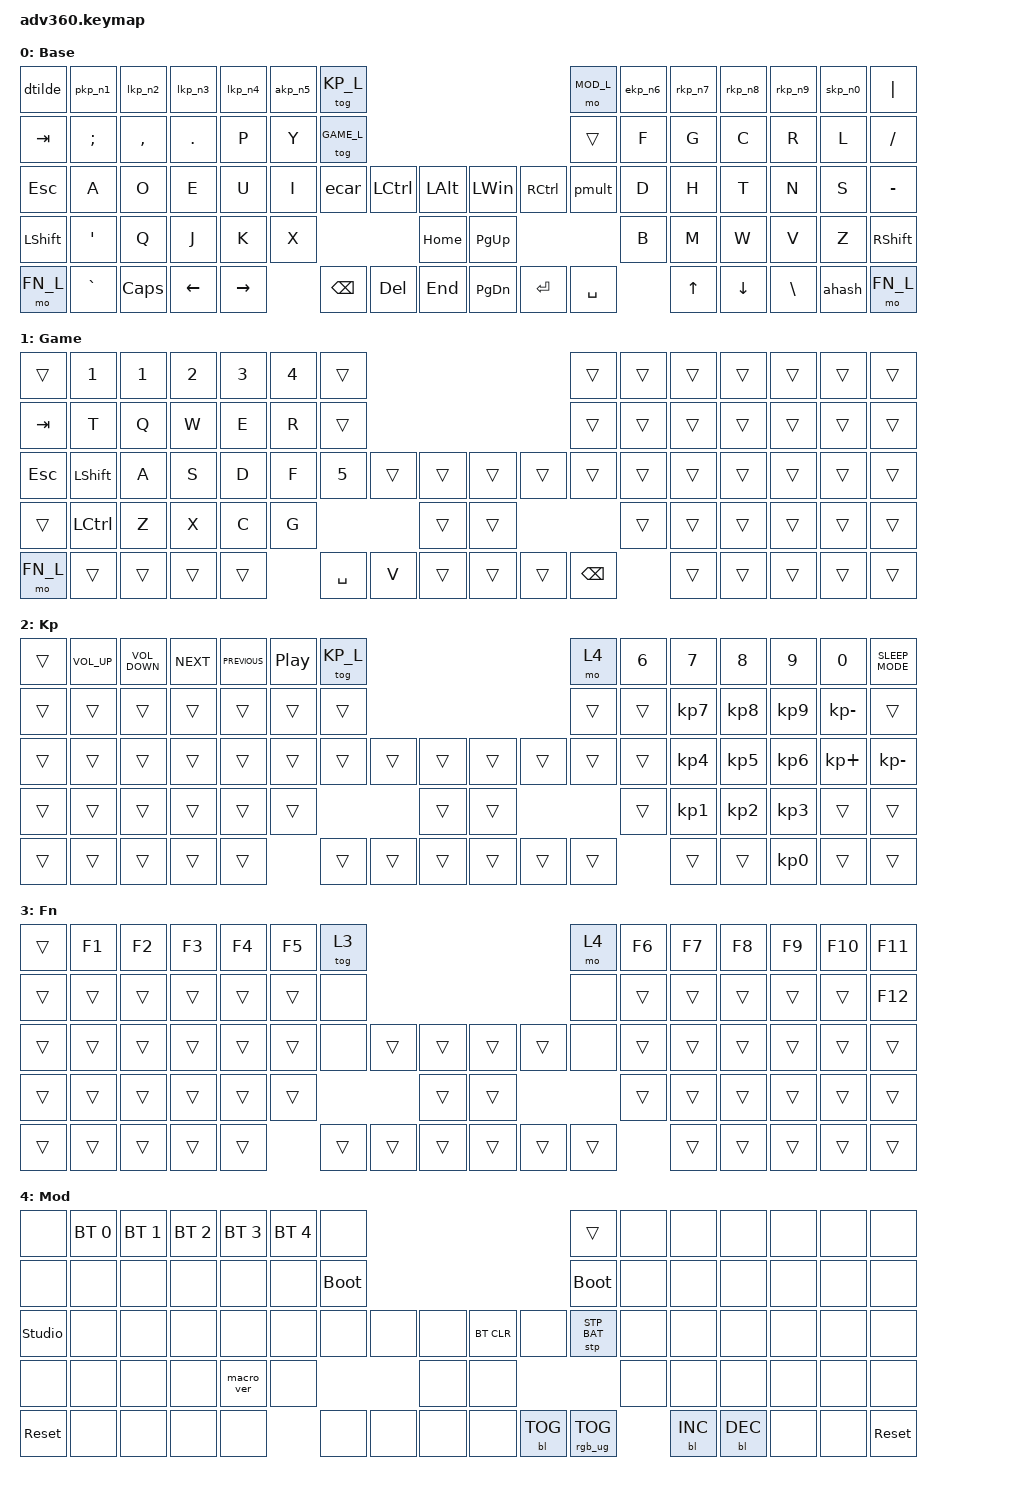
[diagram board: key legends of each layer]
#include <behaviors.dtsi>
#include <dt-bindings/zmk/keys.h>
#include <dt-bindings/zmk/stp.h>
#include <dt-bindings/zmk/backlight.h>
#include <dt-bindings/zmk/bt.h>
#include <dt-bindings/zmk/rgb.h>

// Layers 

#define DVORAK_L 0
#define GAME_L 1
#define KP_L 2
#define FN_L 3
#define MOD_L 4

/ {
    behaviors {
        #include "macros.dtsi"
      #include "version.dtsi"

        /* hm: homerow_mods { */
        /*     compatible = "zmk,behavior-hold-tap"; */
        /*     #binding-cells = <2>; */
        /*     tapping-term-ms = <200>; */
        /*     flavor = "tap-preferred"; */
        /*     bindings = <&kp>, <&kp>; */
        /* }; */
        pkp_n1: plus_kp_n1 {
            compatible = "zmk,behavior-mod-morph";
            #binding-cells = <0>;
            bindings = <&kp PLUS>, <&kp N1>;
            mods = <(MOD_LSFT|MOD_RSFT)>;
        };

        lkp_n2: left_bracket_kp_n2 {
            compatible = "zmk,behavior-mod-morph";
            #binding-cells = <0>;
            bindings = <&kp LEFT_BRACKET>, <&kp N2>;
            mods = <(MOD_LSFT|MOD_RSFT)>;
        };

        lkp_n3: left_brace_kp_n3 {
            compatible = "zmk,behavior-mod-morph";
            #binding-cells = <0>;
            bindings = <&kp LEFT_BRACE>, <&kp N3>;
            mods = <(MOD_LSFT|MOD_RSFT)>;
        };

        lkp_n4: left_parenthesis_kp_n4 {
            compatible = "zmk,behavior-mod-morph";
            #binding-cells = <0>;
            bindings = <&kp LEFT_PARENTHESIS>, <&kp N4>;
            mods = <(MOD_LSFT|MOD_RSFT)>;
        };

        akp_n5: amps_kp_n5 {
            compatible = "zmk,behavior-mod-morph";
            #binding-cells = <0>;
            bindings = <&kp AMPS>, <&kp N5>;
            mods = <(MOD_LSFT|MOD_RSFT)>;
        };

        ekp_n6: equal_kp_n6 {
            compatible = "zmk,behavior-mod-morph";
            #binding-cells = <0>;
            bindings = <&kp EQUAL>, <&kp N6>;
            mods = <(MOD_LSFT|MOD_RSFT)>;
        };

        rkp_n7: right_parenthesis_kp_n7 {
            compatible = "zmk,behavior-mod-morph";
            #binding-cells = <0>;
            bindings = <&kp RIGHT_PARENTHESIS>, <&kp N7>;
            mods = <(MOD_LSFT|MOD_RSFT)>;
        };

        rkp_n8: right_brace_kp_n8 {
            compatible = "zmk,behavior-mod-morph";
            #binding-cells = <0>;
            bindings = <&kp RIGHT_BRACE>, <&kp N8>;
            mods = <(MOD_LSFT|MOD_RSFT)>;
        };

        rkp_n9: right_bracket_kp_n9 {
            compatible = "zmk,behavior-mod-morph";
            #binding-cells = <0>;
            bindings = <&kp RIGHT_BRACKET>, <&kp N9>;
            mods = <(MOD_LSFT|MOD_RSFT)>;
        };

        skp_n0: star_kp_n0 {
            compatible = "zmk,behavior-mod-morph";
            #binding-cells = <0>;
            bindings = <&kp STAR>, <&kp N0>;
            mods = <(MOD_LSFT|MOD_RSFT)>;
        };

        // Symbols

        dtilde: dllr_tilde {
            compatible = "zmk,behavior-mod-morph";
            #binding-cells = <0>;
            bindings = <&kp DLLR>, <&kp TILDE>;
            mods = <(MOD_LSFT|MOD_RSFT)>;
        };

        ahash: at_hash {
            compatible = "zmk,behavior-mod-morph";
            #binding-cells = <0>;
            bindings = <&kp AT>, <&kp HASH>;
            mods = <(MOD_LSFT|MOD_RSFT)>;
        };

        pmult: percent_multiply {
            compatible = "zmk,behavior-mod-morph";
            #binding-cells = <0>;
            bindings = <&kp PERCENT>, <&kp STAR>;
            mods = <(MOD_LSFT|MOD_RSFT)>;
        };
            
            

        ecar: excl_caret {
            compatible = "zmk,behavior-mod-morph";
            #binding-cells = <0>;
            bindings = <&kp EXCL>, <&kp CARET>;
            mods = <(MOD_LSFT|MOD_RSFT)>;
        };

    };

    keymap {
        compatible = "zmk,keymap";

        dvorak {
            display-name = "Base";
            bindings = <
//    ┌─────────┬─────────┬─────────┬─────────┬─────────┬─────────┬────────────┐                           ┌──────────┬─────────┬─────────┬─────────┬─────────┬─────────┬─────────┐
//    │ &dtilde │ &pkp_n1 │ &lkp_n2 │ &lkp_n3 │ &lkp_n4 │ &akp_n5 │  tog KP_L  │                           │ mo MOD_L │ &ekp_n6 │ &rkp_n7 │ &rkp_n8 │ &rkp_n9 │ &skp_n0 │    |    │
//    ├─────────┼─────────┼─────────┼─────────┼─────────┼─────────┼────────────┤                           ├──────────┼─────────┼─────────┼─────────┼─────────┼─────────┼─────────┤
//    │   tab   │    ;    │    ,    │    .    │    P    │    Y    │ tog GAME_L │                           │          │    F    │    G    │    C    │    R    │    L    │    /    │
//    ├─────────┼─────────┼─────────┼─────────┼─────────┼─────────┼────────────┼──────┬──────┬──────┬──────┼──────────┼─────────┼─────────┼─────────┼─────────┼─────────┼─────────┤
//    │   esc   │    A    │    O    │    E    │    U    │    I    │   &ecar    │ lctl │ lalt │ lgui │ rctl │  &pmult  │    D    │    H    │    T    │    N    │    S    │    -    │
//    ├─────────┼─────────┼─────────┼─────────┼─────────┼─────────┼────────────┴──────┼──────┼──────┼──────┴──────────┼─────────┼─────────┼─────────┼─────────┼─────────┼─────────┤
//    │  lsft   │    '    │    Q    │    J    │    K    │    X    │                   │ home │ pgup │                 │    B    │    M    │    W    │    V    │    Z    │  rsft   │
//    ├─────────┼─────────┼─────────┼─────────┼─────────┼─────────┼────────────┬──────┼──────┼──────┼──────┬──────────┼─────────┼─────────┼─────────┼─────────┼─────────┼─────────┤
//    │ mo FN_L │    `    │  caps   │  left   │  rght   │         │    bspc    │ del  │ end  │ pgdn │ ent  │   spc    │         │   up    │  down   │    \    │ &ahash  │ mo FN_L │
//    └─────────┴─────────┴─────────┴─────────┴─────────┘         └────────────┴──────┴──────┴──────┴──────┴──────────┘         └─────────┴─────────┴─────────┴─────────┴─────────┘
  &dtilde     &pkp_n1     &lkp_n2     &lkp_n3    &lkp_n4     &akp_n5   &tog KP_L                                                           &mo MOD_L   &ekp_n6   &rkp_n7   &rkp_n8    &rkp_n9         &skp_n0   &kp PIPE
  &kp TAB     &kp SEMI    &kp COMMA   &kp DOT    &kp P       &kp Y     &tog GAME_L                                                         &trans      &kp F     &kp G     &kp C      &kp R           &kp L     &kp FSLH
  &kp ESC     &kp A       &kp O       &kp E      &kp U       &kp I     &ecar         &kp LCTRL   &kp LEFT_ALT   &kp LEFT_WIN   &kp RCTRL   &pmult      &kp D     &kp H     &kp T      &kp N           &kp S     &kp MINUS
  &kp LSHFT   &kp SQT     &kp Q       &kp J      &kp K       &kp X                               &kp HOME       &kp PG_UP                              &kp B     &kp M     &kp W      &kp V           &kp Z     &kp RSHFT
  &mo FN_L    &kp GRAVE   &kp CAPS    &kp LEFT   &kp RIGHT             &kp BSPC      &kp DEL     &kp END        &kp PG_DN      &kp RET     &kp SPACE             &kp UP    &kp DOWN   &kp BACKSLASH   &ahash    &mo FN_L
            >;
        };

        game_layer {
            display-name = "Game";
            bindings = <
//    ┌─────────┬──────┬─────┬─────┬─────┬───┬─────┐                       ┌──────┬─────┬─────┬─────┬─────┬─────┬─────┐
//    │         │  1   │  1  │  2  │  3  │ 4 │     │                       │      │     │     │     │     │     │     │
//    ├─────────┼──────┼─────┼─────┼─────┼───┼─────┤                       ├──────┼─────┼─────┼─────┼─────┼─────┼─────┤
//    │   tab   │  T   │  Q  │  W  │  E  │ R │     │                       │      │     │     │     │     │     │     │
//    ├─────────┼──────┼─────┼─────┼─────┼───┼─────┼─────┬─────┬─────┬─────┼──────┼─────┼─────┼─────┼─────┼─────┼─────┤
//    │   esc   │ lsft │  A  │  S  │  D  │ F │  5  │     │     │     │     │      │     │     │     │     │     │     │
//    ├─────────┼──────┼─────┼─────┼─────┼───┼─────┴─────┼─────┼─────┼─────┴──────┼─────┼─────┼─────┼─────┼─────┼─────┤
//    │         │ lctl │  Z  │  X  │  C  │ G │           │     │     │            │     │     │     │     │     │     │
//    ├─────────┼──────┼─────┼─────┼─────┼───┼─────┬─────┼─────┼─────┼─────┬──────┼─────┼─────┼─────┼─────┼─────┼─────┤
//    │ mo FN_L │      │     │     │     │   │ spc │  V  │     │     │     │ bspc │     │     │     │     │     │     │
//    └─────────┴──────┴─────┴─────┴─────┘   └─────┴─────┴─────┴─────┴─────┴──────┘     └─────┴─────┴─────┴─────┴─────┘
  &trans       &kp N1      &kp N1   &kp N2   &kp N3   &kp N4   &trans                                          &trans          &trans   &trans   &trans   &trans   &trans   &trans
  &kp TAB      &kp T       &kp Q    &kp W    &kp E    &kp R    &trans                                          &trans          &trans   &trans   &trans   &trans   &trans   &trans
  &kp ESCAPE   &kp LSHFT   &kp A    &kp S    &kp D    &kp F    &kp N5      &trans   &trans   &trans   &trans   &trans          &trans   &trans   &trans   &trans   &trans   &trans
  &trans       &kp LCTRL   &kp Z    &kp X    &kp C    &kp G                         &trans   &trans                            &trans   &trans   &trans   &trans   &trans   &trans
  &mo FN_L     &trans      &trans   &trans   &trans            &kp SPACE   &kp V    &trans   &trans   &trans   &kp BACKSPACE            &trans   &trans   &trans   &trans   &trans
            >;
        };

        keypad {
            display-name = "Kp";
            bindings = <
//    ┌─────┬──────┬──────┬──────┬──────┬──────┬──────────┐                       ┌──────┬─────┬─────┬─────┬───┬──────┬────────────┐
//    │     │ volu │ vold │ next │ prev │ play │ tog KP_L │                       │ mo 4 │  6  │  7  │  8  │ 9 │  0   │ sleep_mode │
//    ├─────┼──────┼──────┼──────┼──────┼──────┼──────────┤                       ├──────┼─────┼─────┼─────┼───┼──────┼────────────┤
//    │     │      │      │      │      │      │          │                       │      │     │  7  │  8  │ 9 │ kp_- │            │
//    ├─────┼──────┼──────┼──────┼──────┼──────┼──────────┼─────┬─────┬─────┬─────┼──────┼─────┼─────┼─────┼───┼──────┼────────────┤
//    │     │      │      │      │      │      │          │     │     │     │     │      │     │  4  │  5  │ 6 │ kp_+ │    kp_-    │
//    ├─────┼──────┼──────┼──────┼──────┼──────┼──────────┴─────┼─────┼─────┼─────┴──────┼─────┼─────┼─────┼───┼──────┼────────────┤
//    │     │      │      │      │      │      │                │     │     │            │     │  1  │  2  │ 3 │      │            │
//    ├─────┼──────┼──────┼──────┼──────┼──────┼──────────┬─────┼─────┼─────┼─────┬──────┼─────┼─────┼─────┼───┼──────┼────────────┤
//    │     │      │      │      │      │      │          │     │     │     │     │      │     │     │     │ 0 │      │            │
//    └─────┴──────┴──────┴──────┴──────┘      └──────────┴─────┴─────┴─────┴─────┴──────┘     └─────┴─────┴───┴──────┴────────────┘
  &trans   &kp C_VOLUME_UP   &kp C_VOLUME_DOWN   &kp C_NEXT   &kp C_PREVIOUS   &kp C_PLAY_PAUSE   &tog KP_L                                       &mo 4    &kp NUMBER_6   &kp NUMBER_7   &kp NUMBER_8   &kp NUMBER_9   &kp NUMBER_0   &kp C_SLEEP_MODE
  &trans   &trans            &trans              &trans       &trans           &trans             &trans                                          &trans   &trans         &kp KP_N7      &kp KP_N8      &kp KP_N9      &kp KP_MINUS   &trans
  &trans   &trans            &trans              &trans       &trans           &trans             &trans      &trans   &trans   &trans   &trans   &trans   &trans         &kp KP_N4      &kp KP_N5      &kp KP_N6      &kp KP_PLUS    &kp KP_MINUS
  &trans   &trans            &trans              &trans       &trans           &trans                                  &trans   &trans                     &trans         &kp KP_N1      &kp KP_N2      &kp KP_N3      &trans         &trans
  &trans   &trans            &trans              &trans       &trans                              &trans      &trans   &trans   &trans   &trans   &trans                  &trans         &trans         &kp KP_N0      &trans         &trans
            >;
        };

        fn {
            display-name = "Fn";
            bindings = <
//    ┌─────┬─────┬─────┬─────┬─────┬─────┬───────┐                       ┌──────┬─────┬─────┬─────┬─────┬─────┬─────┐
//    │     │ f1  │ f2  │ f3  │ f4  │ f5  │ tog 3 │                       │ mo 4 │ f6  │ f7  │ f8  │ f9  │ f10 │ f11 │
//    ├─────┼─────┼─────┼─────┼─────┼─────┼───────┤                       ├──────┼─────┼─────┼─────┼─────┼─────┼─────┤
//    │     │     │     │     │     │     │       │                       │      │     │     │     │     │     │ f12 │
//    ├─────┼─────┼─────┼─────┼─────┼─────┼───────┼─────┬─────┬─────┬─────┼──────┼─────┼─────┼─────┼─────┼─────┼─────┤
//    │     │     │     │     │     │     │       │     │     │     │     │      │     │     │     │     │     │     │
//    ├─────┼─────┼─────┼─────┼─────┼─────┼───────┴─────┼─────┼─────┼─────┴──────┼─────┼─────┼─────┼─────┼─────┼─────┤
//    │     │     │     │     │     │     │             │     │     │            │     │     │     │     │     │     │
//    ├─────┼─────┼─────┼─────┼─────┼─────┼───────┬─────┼─────┼─────┼─────┬──────┼─────┼─────┼─────┼─────┼─────┼─────┤
//    │     │     │     │     │     │     │       │     │     │     │     │      │     │     │     │     │     │     │
//    └─────┴─────┴─────┴─────┴─────┘     └───────┴─────┴─────┴─────┴─────┴──────┘     └─────┴─────┴─────┴─────┴─────┘
  &trans   &kp F1   &kp F2   &kp F3   &kp F4   &kp F5   &tog 3                                       &mo 4    &kp F6   &kp F7   &kp F8   &kp F9   &kp F10   &kp F11
  &trans   &trans   &trans   &trans   &trans   &trans   &none                                        &none    &trans   &trans   &trans   &trans   &trans    &kp F12
  &trans   &trans   &trans   &trans   &trans   &trans   &none    &trans   &trans   &trans   &trans   &none    &trans   &trans   &trans   &trans   &trans    &trans
  &trans   &trans   &trans   &trans   &trans   &trans                     &trans   &trans                     &trans   &trans   &trans   &trans   &trans    &trans
  &trans   &trans   &trans   &trans   &trans            &trans   &trans   &trans   &trans   &trans   &trans            &trans   &trans   &trans   &trans    &trans
            >;
        };

        mod {
            display-name = "Mod";
            bindings = <
//    ┌────────────────┬──────────┬──────────┬──────────┬────────────┬──────────┬──────┐                              ┌─────────────┬─────┬─────────┬─────────┬─────┬─────┬────────────┐
//    │                │ bt_sel 0 │ bt_sel 1 │ bt_sel 2 │  bt_sel 3  │ bt_sel 4 │      │                              │             │     │         │         │     │     │            │
//    ├────────────────┼──────────┼──────────┼──────────┼────────────┼──────────┼──────┤                              ├─────────────┼─────┼─────────┼─────────┼─────┼─────┼────────────┤
//    │                │          │          │          │            │          │ boot │                              │    boot     │     │         │         │     │     │            │
//    ├────────────────┼──────────┼──────────┼──────────┼────────────┼──────────┼──────┼─────┬─────┬────────┬─────────┼─────────────┼─────┼─────────┼─────────┼─────┼─────┼────────────┤
//    │ &studio_unlock │          │          │          │            │          │      │     │     │ bt_clr │         │ &stp STP_B@ │     │         │         │     │     │            │
//    ├────────────────┼──────────┼──────────┼──────────┼────────────┼──────────┼──────┴─────┼─────┼────────┼─────────┴─────────────┼─────┼─────────┼─────────┼─────┼─────┼────────────┤
//    │                │          │          │          │ &macro_ver │          │            │     │        │                       │     │         │         │     │     │            │
//    ├────────────────┼──────────┼──────────┼──────────┼────────────┼──────────┼──────┬─────┼─────┼────────┼─────────┬─────────────┼─────┼─────────┼─────────┼─────┼─────┼────────────┤
//    │   &sys_reset   │          │          │          │            │          │      │     │     │        │ bl_ tog │   ug_ tog   │     │ bl_ br+ │ bl_ br- │     │     │ &sys_reset │
//    └────────────────┴──────────┴──────────┴──────────┴────────────┘          └──────┴─────┴─────┴────────┴─────────┴─────────────┘     └─────────┴─────────┴─────┴─────┴────────────┘
  &none            &bt BT_SEL 0   &bt BT_SEL 1   &bt BT_SEL 2   &bt BT_SEL 3   &bt BT_SEL 4   &none                                                   &trans            &none   &none        &none        &none   &none   &none
  &none            &none          &none          &none          &none          &none          &bootloader                                             &bootloader       &none   &none        &none        &none   &none   &none
  &studio_unlock   &none          &none          &none          &none          &none          &none         &none   &none   &bt BT_CLR   &none        &stp STP_BAT      &none   &none        &none        &none   &none   &none
  &none            &none          &none          &none          &macro_ver     &none                                &none   &none                                       &none   &none        &none        &none   &none   &none
  &sys_reset       &none          &none          &none          &none                         &none         &none   &none   &none        &bl BL_TOG   &rgb_ug RGB_TOG           &bl BL_INC   &bl BL_DEC   &none   &none   &sys_reset
            >;
        };

    };
};


